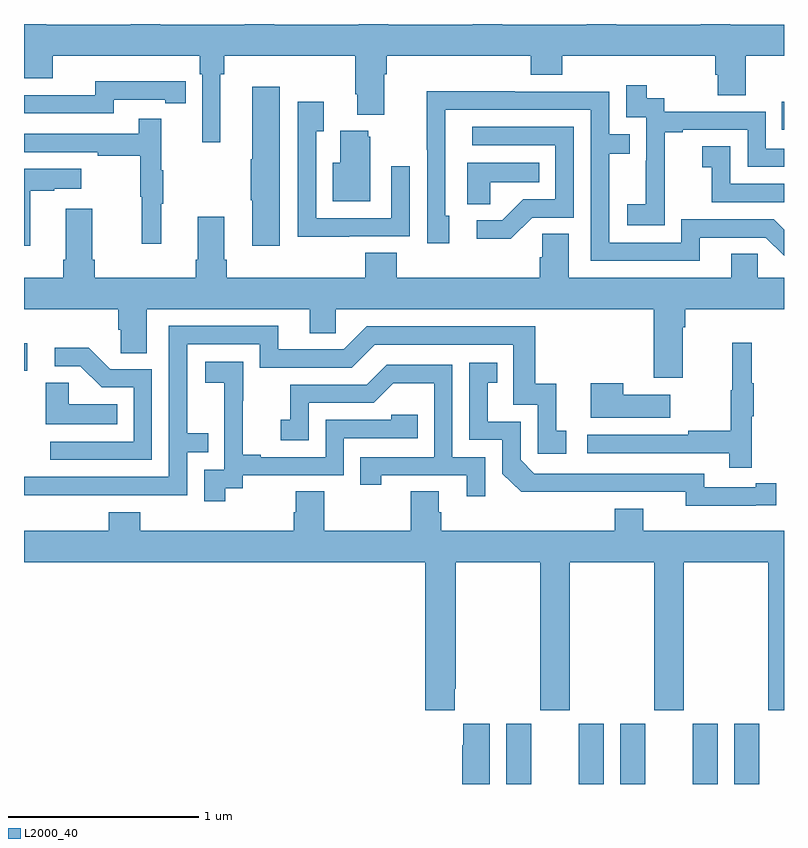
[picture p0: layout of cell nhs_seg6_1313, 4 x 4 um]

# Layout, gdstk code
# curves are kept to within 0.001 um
import gdstk
lib = gdstk.Library(unit=1e-6, precision=1e-09)
def R(c, l, rs):  # rectangles x0, y0, x1, y1
    for r in rs: c.add(gdstk.rectangle(r[:2], r[2:], *l))
def P(c, l, *ps):  # polygons
    for p in ps: c.add(gdstk.Polygon(p, *l))
L2000_40 = (2000, 40)

nhs_seg6_1313 = lib.new_cell('nhs_seg6_1313')
R(nhs_seg6_1313, L2000_40, [(193.538,947.5,193.669,947.818), (193.919,947.5,194.05,947.818), (194.138,947.5,194.269,947.818), (194.519,947.5,194.65,947.818), (194.738,947.5,194.869,947.818), (191,949.674,191.017,949.819), (194.989,950.943,195,951.091)])
P(nhs_seg6_1313, L2000_40, [(192.034,951.236),(192.053,951.236),(192.053,951.332),(192.743,951.332),(192.743,951.13),(192.755,951.13),(192.755,951.023),(192.895,951.023),(192.895,951.236),(192.908,951.236),(192.908,951.332),(193.667,951.332),(193.667,951.233),(193.832,951.233),(193.832,951.332),(194.639,951.332),(194.639,951.234),(194.651,951.234),(194.651,951.124),(194.799,951.124),(194.799,951.332),(195,951.332),(195,951.496),(194.718,951.496),(194.718,951.5),(194.563,951.5),(194.563,951.496),(194.118,951.496),(194.118,951.5),(193.963,951.5),(193.963,951.496),(193.518,951.496),(193.518,951.5),(193.363,951.5),(193.363,951.496),(192.918,951.496),(192.918,951.5),(192.763,951.5),(192.763,951.496),(192.318,951.496),(192.318,951.5),(192.163,951.5),(192.163,951.496),(191.718,951.496),(191.718,951.5),(191.563,951.5),(191.563,951.496),(191.118,951.496),(191.118,951.5),(191,951.5),(191,951.215),(191.152,951.215),(191.152,951.332),(191.924,951.332),(191.924,951.236),(191.937,951.236),(191.937,950.877),(192.034,950.877)],
  [(191.472,951.102),(191.744,951.102),(191.744,951.082),(191.852,951.082),(191.852,951.198),(191.744,951.198),(191.744,951.199),(191.376,951.199),(191.376,951.126),(191,951.126),(191,951.03),(191.472,951.03)],
  [(194.373,950.647),(194.372,950.647),(194.372,950.931),(194.467,950.931),(194.467,950.943),(194.808,950.943),(194.808,950.748),(195,950.748),(195,950.844),(194.904,950.844),(194.904,951.039),(194.37,951.039),(194.37,951.108),(194.278,951.108),(194.278,951.178),(194.169,951.178),(194.169,951.009),(194.274,951.009),(194.274,950.78),(194.273,950.78),(194.273,950.551),(194.175,950.551),(194.175,950.441),(194.373,950.441)],
  [(192.346,951.169),(192.2,951.169),(192.2,950.789),(192.193,950.789),(192.193,950.572),(192.2,950.572),(192.2,950.334),(192.346,950.334)],
  [(194.557,950.376),(194.904,950.376),(195,950.28),(195,950.418),(194.946,950.472),(194.46,950.472),(194.46,950.349),(194.079,950.349),(194.079,950.818),(194.189,950.818),(194.189,950.919),(194.079,950.919),(194.079,951.144),(193.583,951.144),(193.583,951.146),(193.12,951.146),(193.12,950.839),(193.122,950.839),(193.122,950.346),(193.237,950.346),(193.237,950.49),(193.218,950.49),(193.218,951.048),(193.983,951.048),(193.983,950.253),(194.557,950.253)],
  [(192.713,950.382),(193.029,950.382),(193.029,950.752),(192.933,950.752),(192.933,950.478),(192.537,950.478),(192.537,950.935),(192.577,950.935),(192.577,951.091),(192.441,951.091),(192.441,950.381),(192.713,950.381)],
  [(191.723,950.555),(191.734,950.555),(191.734,950.729),(191.723,950.729),(191.723,951.001),(191.605,951.001),(191.605,950.922),(191,950.922),(191,950.826),(191.389,950.826),(191.389,950.806),(191.613,950.806),(191.613,950.592),(191.62,950.592),(191.62,950.343),(191.723,950.343)],
  [(193.674,950.481),(193.893,950.481),(193.893,950.958),(193.359,950.958),(193.359,950.862),(193.797,950.862),(193.797,950.577),(193.628,950.577),(193.517,950.466),(193.383,950.466),(193.383,950.369),(193.561,950.369)],
  [(192.823,950.907),(192.812,950.907),(192.812,950.938),(192.665,950.938),(192.665,950.77),(192.626,950.77),(192.626,950.567),(192.823,950.567)],
  [(195,950.658),(194.718,950.658),(194.718,950.857),(194.571,950.857),(194.571,950.747),(194.62,950.747),(194.62,950.562),(195,950.562)],
  [(193.455,950.666),(193.712,950.666),(193.712,950.77),(193.334,950.77),(193.334,950.551),(193.455,950.551)],
  [(191.032,950.623),(191.159,950.623),(191.159,950.633),(191.302,950.633),(191.302,950.737),(191,950.737),(191,950.334),(191.032,950.334)],
  [(194.467,949.904),(194.48,949.904),(194.48,950),(195,950),(195,950.164),(194.862,950.164),(194.862,950.291),(194.723,950.291),(194.723,950.164),(193.867,950.164),(193.867,950.396),(193.728,950.396),(193.728,950.273),(193.715,950.273),(193.715,950.164),(192.962,950.164),(192.962,950.297),(192.797,950.297),(192.797,950.164),(192.068,950.164),(192.068,950.26),(192.055,950.26),(192.055,950.485),(191.915,950.485),(191.915,950.26),(191.903,950.26),(191.903,950.164),(191.372,950.164),(191.372,950.26),(191.359,950.26),(191.359,950.527),(191.219,950.527),(191.219,950.26),(191.207,950.26),(191.207,950.164),(191,950.164),(191,950),(191.495,950),(191.495,949.891),(191.508,949.891),(191.508,949.768),(191.647,949.768),(191.647,950),(192.503,950),(192.503,949.873),(192.642,949.873),(192.642,950),(194.315,950),(194.315,949.638),(194.467,949.638)],
  [(191.363,949.02),(191.859,949.02),(191.859,949.245),(191.969,949.245),(191.969,949.346),(191.859,949.346),(191.859,949.815),(192.24,949.815),(192.24,949.692),(192.726,949.692),(192.846,949.812),(193.575,949.812),(193.575,949.497),(193.704,949.497),(193.704,949.239),(193.855,949.239),(193.855,949.359),(193.802,949.359),(193.802,949.606),(193.691,949.606),(193.691,949.908),(192.804,949.908),(192.684,949.788),(192.337,949.788),(192.337,949.911),(191.763,949.911),(191.763,949.116),(191,949.116),(191,949.019)],
  [(194.831,949.435),(194.842,949.435),(194.842,949.609),(194.831,949.609),(194.831,949.822),(194.728,949.822),(194.728,949.572),(194.721,949.572),(194.721,949.358),(194.497,949.358),(194.497,949.338),(193.965,949.338),(193.965,949.242),(194.713,949.242),(194.713,949.164),(194.831,949.164)],
  [(191.673,949.683),(191.454,949.683),(191.341,949.796),(191.163,949.796),(191.163,949.698),(191.297,949.698),(191.408,949.587),(191.577,949.587),(191.577,949.302),(191.139,949.302),(191.139,949.206),(191.673,949.206)],
  [(192.058,949.057),(192.15,949.057),(192.15,949.125),(192.684,949.125),(192.684,949.32),(193.073,949.32),(193.073,949.443),(192.933,949.443),(192.933,949.416),(192.588,949.416),(192.588,949.221),(192.247,949.221),(192.247,949.234),(192.152,949.234),(192.152,949.517),(192.153,949.517),(192.153,949.723),(191.955,949.723),(191.955,949.613),(192.053,949.613),(192.053,949.385),(192.054,949.385),(192.054,949.155),(191.949,949.155),(191.949,948.987),(192.058,948.987)],
  [(194.852,948.966),(194.96,948.966),(194.96,949.082),(194.852,949.082),(194.852,949.062),(194.58,949.062),(194.58,949.134),(193.686,949.134),(193.614,949.206),(193.614,949.407),(193.441,949.407),(193.441,949.611),(193.49,949.611),(193.49,949.717),(193.344,949.717),(193.344,949.311),(193.518,949.311),(193.518,949.134),(193.616,949.037),(194.484,949.038),(194.484,948.965)],
  [(193.428,949.221),(193.254,949.221),(193.254,949.707),(192.908,949.707),(192.803,949.602),(192.4,949.602),(192.4,949.417),(192.351,949.417),(192.351,949.308),(192.498,949.308),(192.498,949.506),(192.84,949.506),(192.944,949.61),(193.158,949.61),(193.158,949.221),(192.769,949.221),(192.769,949.074),(192.88,949.074),(192.88,949.125),(193.331,949.125),(193.331,949.014),(193.428,949.014)],
  [(191.492,949.498),(191.235,949.498),(191.235,949.613),(191.114,949.613),(191.114,949.394),(191.492,949.394)],
  [(194.401,949.549),(194.153,949.549),(194.153,949.609),(193.982,949.609),(193.982,949.427),(194.401,949.427)],
  [(193.267,948.001),(193.272,948.001),(193.272,948.668),(193.717,948.668),(193.717,947.889),(193.872,947.889),(193.872,948.668),(194.317,948.668),(194.317,947.889),(194.472,947.889),(194.472,948.668),(194.917,948.668),(194.917,947.889),(195,947.889),(195,948.832),(194.26,948.832),(194.26,948.949),(194.108,948.949),(194.108,948.832),(193.196,948.832),(193.196,948.93),(193.183,948.93),(193.183,949.04),(193.036,949.04),(193.036,948.832),(192.579,948.832),(192.579,949.04),(192.431,949.04),(192.431,948.93),(192.419,948.93),(192.419,948.832),(191.612,948.832),(191.612,948.931),(191.447,948.931),(191.447,948.832),(191,948.832),(191,948.668),(193.112,948.668),(193.112,947.889),(193.267,947.889)],
  [(193.313,947.818),(193.313,947.705),(193.307,947.705),(193.307,947.5),(193.45,947.5),(193.45,947.818)])

lib.write_gds('nhs_seg6_1313.gds')
